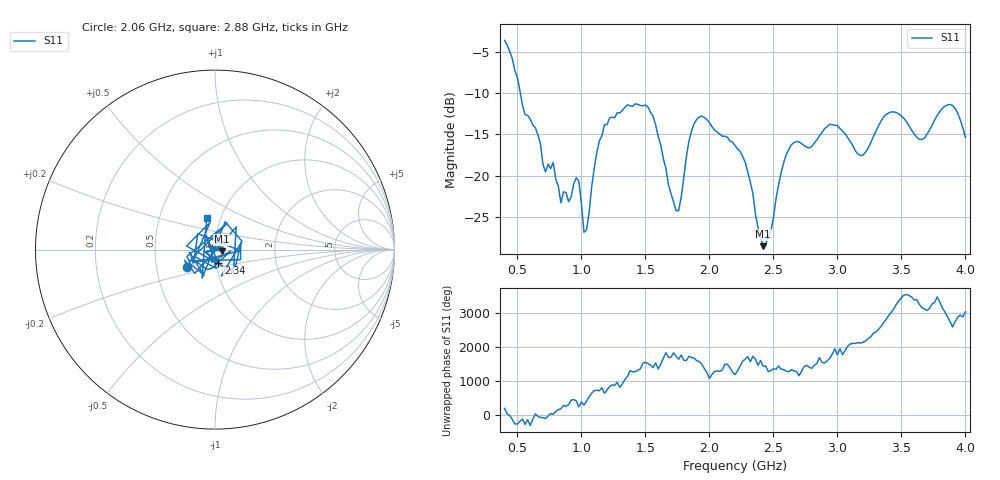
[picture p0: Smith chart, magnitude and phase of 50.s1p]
!Created with skrf (http://scikit-rf.org).
# Hz S RI R 50.0
!freq ReS11 ImS11
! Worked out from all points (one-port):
!   181 points, 400 MHz to 4 GHz, reference 50 ohm
!   lowest |S11| = -28.5 dB at 2.42 GHz (marker M1), VSWR 1.08, Z = 53.8 - j0.936 ohm
!   |S11| at or under -10 dB: 523 MHz to end of sweep
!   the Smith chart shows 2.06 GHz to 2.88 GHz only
!   S11 on the Smith chart (normalised r, x): 2.06 GHz: 0.72, -0.15; 2.34 GHz: 1.02, -0.16; 2.88 GHz: 0.86, +0.31
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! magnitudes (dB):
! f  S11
! 400 MHz  -3.6
! 720 MHz  -19.5
! 780 MHz  -18.4
! 840 MHz  -23.3
! 860 MHz  -22.0
! 980 MHz  -20.7
! 1.02 GHz  -26.9
! 1.04 GHz  -26.6
! 1.14 GHz  -15.8
! 1.3 GHz  -12.4
! 1.52 GHz  -11.7
! 1.76 GHz  -24.2
! 1.88 GHz  -13.7
! 2.06 GHz  -14.7
! 2.2 GHz  -16.3
! 2.34 GHz  -22.2
! 2.42 GHz  -28.5
! 2.48 GHz  -26.7
! 2.58 GHz  -18.4
! 2.66 GHz  -16.0
! 2.88 GHz  -14.7
! 3.1 GHz  -15.9
! 3.2 GHz  -17.5
! 3.42 GHz  -12.3
! 3.56 GHz  -14.0
! 3.68 GHz  -15.5
! 3.88 GHz  -11.4
! 4 GHz  -15.4
